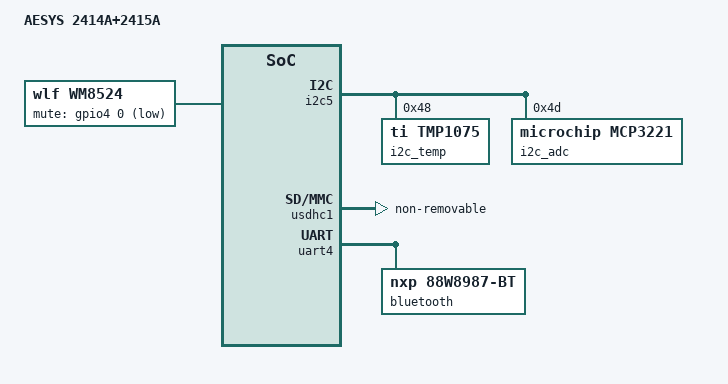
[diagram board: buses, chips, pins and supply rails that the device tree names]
// SPDX-License-Identifier: (GPL-2.0+ OR MIT)

/dts-v1/;

#include "aesys_2414.dtsi"

/ {

	model = "AESYS 2414A+2415A";
	
	wm8524: audio-codec {
		#sound-dai-cells = <0>;
		compatible = "wlf,wm8524";
		pinctrl-names = "default";
		pinctrl-0 = <&pinctrl_sound_wm8524>;
		wlf,mute-gpios = <&gpio4 0 GPIO_ACTIVE_LOW>;
	};
	
	sound-wm8524 {
		compatible = "simple-audio-card";
		simple-audio-card,name = "wm8524-audio";
		simple-audio-card,format = "i2s";
		simple-audio-card,frame-master = <&cpudai>;
		simple-audio-card,bitclock-master = <&cpudai>;
		simple-audio-card,widgets =
			"Line", "Left Line Out Jack",
			"Line", "Right Line Out Jack";
		simple-audio-card,routing =
			"Left Line Out Jack", "LINEVOUTL",
			"Right Line Out Jack", "LINEVOUTR";
		
		cpudai: simple-audio-card,cpu {
			sound-dai = <&sai1>;
		};
		
		simple-audio-card,codec {
			sound-dai = <&wm8524>;
			clocks = <&audio_blk_ctrl IMX8MP_CLK_AUDIOMIX_SAI1_MCLK1>;
		};
	};
};

&i2c5 {
	i2c_temp: temp@48 {
		compatible = "ti,tmp1075";
		reg = <0x48>;
	};

	i2c_adc: adc@4d {
		compatible = "microchip,mcp3221";
		reg = <0x4d>;
	};
};

&usdhc1 {
    pinctrl-0 = <&pinctrl_usdhc1 &pinctrl_wifi_ble>;
	pinctrl-1 = <&pinctrl_usdhc1_100mhz &pinctrl_wifi_ble>;
	pinctrl-2 = <&pinctrl_usdhc1_200mhz &pinctrl_wifi_ble>;
    pinctrl-assert-gpios = <&gpio2 9 GPIO_ACTIVE_HIGH>;
    post-power-on-delay-ms = <120>;
    power-off-delay-us = <100000>;
    max-frequency = <25000000>;
    non-removable;
};

&uart4 {
    bluetooth {
        compatible = "nxp,88w8987-bt";
        fw-init-baudrate = <115200>;
    };
};

&iomuxc {
	pinctrl-names = "default";
	pinctrl-0 = <&pinctrl_emmc_gpios &pinctrl_pin_hwrev_gpios &pinctrl_pin_gpios &pinctrl_pin_gpios_2415>;

	pinctrl_pin_gpios_2415: pin_gpios_2415 {
		fsl,pins = <
		MX8MP_IOMUXC_SD1_DATA4__GPIO2_IO06       0x00000006   	// AUDIO_nMUTE_CTRL
		MX8MP_IOMUXC_SD1_DATA5__GPIO2_IO07		 0x00000006		// USB_HUB_SOFT_RESET
		MX8MP_IOMUXC_SD1_DATA6__GPIO2_IO08       0x00000006   	// LTE_nPWR_ON
		>;
	};

    pinctrl_wifi_ble: pin_wifi_ble {
        fsl,pins = <
        MX8MP_IOMUXC_SD1_DATA7__GPIO2_IO09       0x00000006   	// WIFI_BLE_nRESET
        >;
    };

	pinctrl_sound_wm8524: sound_wm8524_gpios {
		fsl,pins = <
		MX8MP_IOMUXC_SAI1_RXFS__GPIO4_IO00		0x00000006		// AUDIO_nMUTE
		>;
	};
};
